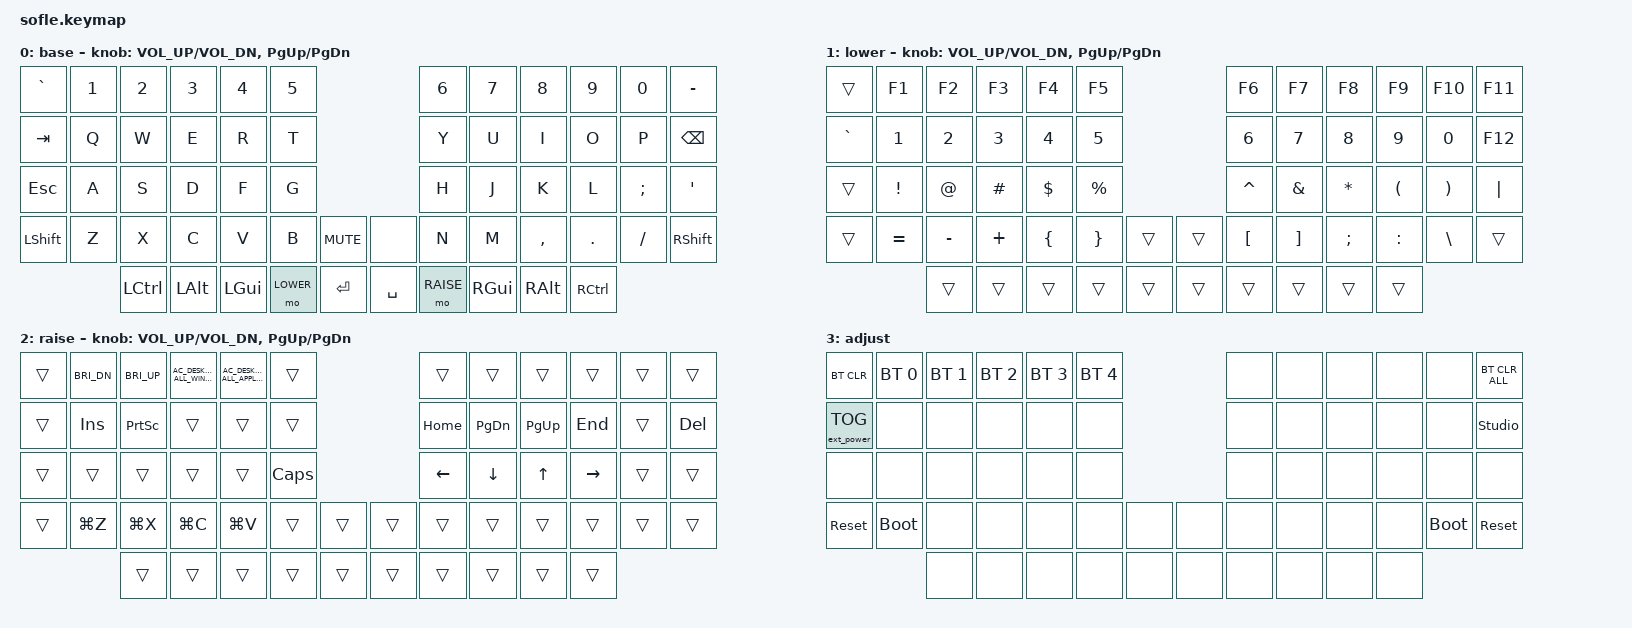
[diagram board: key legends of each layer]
/*
 * Copyright (c) 2020 The ZMK Contributors
 *
 * SPDX-License-Identifier: MIT
 */

#include <behaviors.dtsi>
#include <dt-bindings/zmk/keys.h>
#include <dt-bindings/zmk/bt.h>
#include <dt-bindings/zmk/ext_power.h>

#define BASE 0
#define LOWER 1
#define RAISE 2
#define ADJUST 3

/ {

    // Activate ADJUST layer by pressing raise and lower
    conditional_layers {
        compatible = "zmk,conditional-layers";
        adjust_layer {
            if-layers = <LOWER RAISE>;
            then-layer = <ADJUST>;
        };
    };

    keymap {
        compatible = "zmk,keymap";

        default_layer {
            display-name = "base";
// ------------------------------------------------------------------------------------------------------------
// |   `   |  1  |  2  |  3   |  4   |  5   |                   |  6   |  7    |  8    |  9   |   0   |   -   |
// |  TAB  |  Q  |  W  |  E   |  R   |  T   |                   |  Y   |  U    |  I    |  O   |   P   | BKSPC |
// |  ESC  |  A  |  S  |  D   |  F   |  G   |                   |  H   |  J    |  K    |  L   |   ;   |   '   |
// | SHIFT |  Z  |  X  |  C   |  V   |  B   |  MUTE  |  |       |  N   |  M    |  ,    |  .   |   /   | SHIFT |
//               | CTRL| OPT  | CMD  | LOWER|  ENTER |  | SPACE | RAISE| CMD   | OPT   | CTRL |
            bindings = <
&kp GRAVE &kp N1 &kp N2    &kp N3   &kp N4    &kp N5                           &kp N6    &kp N7   &kp N8    &kp N9   &kp N0   &kp MINUS
&kp TAB   &kp Q  &kp W     &kp E    &kp R     &kp T                            &kp Y     &kp U    &kp I     &kp O    &kp P    &kp BSPC
&kp ESC   &kp A  &kp S     &kp D    &kp F     &kp G                            &kp H     &kp J    &kp K     &kp L    &kp SEMI &kp SQT
&kp LSHFT &kp Z  &kp X     &kp C    &kp V     &kp B      &kp C_MUTE &none      &kp N     &kp M    &kp COMMA &kp DOT  &kp FSLH &kp RSHFT
                 &kp LCTRL &kp LALT &kp LGUI  &mo LOWER  &kp RET    &kp SPACE  &mo RAISE &kp RGUI &kp RALT  &kp RCTRL
            >;

            sensor-bindings = <&inc_dec_kp C_VOL_UP C_VOL_DN &inc_dec_kp PG_UP PG_DN>;
        };

        lower_layer {
            display-name = "lower";
// ------------------------------------------------------------------------------------------------------------
// |       |  F1 |  F2 |  F3  |  F4  |  F5  |                   |  F6  |  F7   |  F8   |  F9  |  F10  |  F11  |
// |   `   |  1  |  2  |  3   |  4   |  5   |                   |  6   |  7    |  8    |  9   |   0   |  F12  |
// |       |  !  |  @  |  #   |  $   |  %   |                   |  ^   |  &    |  *    |  (   |   )   |   |   |
// |       |  =  |  -  |  +   |  {   |  }   |        |  |       |  [   |  ]    |  ;    |  :   |   \   |       |
//               |     |      |      |      |        |  |       |      |       |       |      |
            bindings = <
&trans    &kp F1    &kp F2    &kp F3   &kp F4   &kp F5                     &kp F6    &kp F7   &kp F8    &kp F9    &kp F10  &kp F11
&kp GRAVE &kp N1    &kp N2    &kp N3   &kp N4   &kp N5                     &kp N6    &kp N7   &kp N8    &kp N9    &kp N0   &kp F12
&trans    &kp EXCL  &kp AT    &kp HASH &kp DLLR &kp PRCNT                  &kp CARET &kp AMPS &kp ASTRK &kp LPAR  &kp RPAR &kp PIPE
&trans    &kp EQUAL &kp MINUS &kp PLUS &kp LBRC &kp RBRC   &trans  &trans  &kp LBKT  &kp RBKT &kp SEMI  &kp COLON &kp BSLH &trans
                    &trans    &trans   &trans   &trans      &trans  &trans  &trans    &trans   &trans    &trans
            >;

            sensor-bindings = <&inc_dec_kp C_VOL_UP C_VOL_DN &inc_dec_kp PG_UP PG_DN>;
        };

        raise_layer {
            display-name = "raise";
// ------------------------------------------------------------------------------------------------------------
// |       | BRI-| BRI+|MSCTL |LNCHPD|      |                   |      |      |       |      |       |       |
// |       | INS |PSCRN|      |      |      |                   | HOME | PGDN | PGUP  | END  |       |  DEL  |
// |       |     |     |      |      | CAPS |                   |   ←  |   ↓  |   ↑   |  →   |       |       |
// |       | UNDO| CUT | COPY |PASTE |      |        |  |       |      |      |       |      |       |       |
//               |     |      |      |      |        |  |       |      |      |       |      |
            bindings = <
&trans &kp C_BRI_DN &kp C_BRI_UP &kp C_AC_DESKTOP_SHOW_ALL_WINDOWS &kp C_AC_DESKTOP_SHOW_ALL_APPLICATIONS &trans            &trans   &trans    &trans    &trans    &trans &trans
&trans &kp INS      &kp PSCRN    &trans                            &trans                                 &trans            &kp HOME &kp PG_DN &kp PG_UP &kp END   &trans &kp DEL
&trans &trans       &trans       &trans                            &trans                                 &kp CLCK          &kp LEFT &kp DOWN  &kp UP    &kp RIGHT &trans &trans
&trans &kp LG(Z)    &kp LG(X)   &kp LG(C)                        &kp LG(V)                              &trans &trans &trans &trans &trans    &trans    &trans    &trans &trans
                    &trans       &trans                            &trans                                 &trans &trans &trans &trans &trans    &trans    &trans
            >;

            sensor-bindings = <&inc_dec_kp C_VOL_UP C_VOL_DN &inc_dec_kp PG_UP PG_DN>;
        };

        adjust_layer {
            display-name = "adjust";
// ----------------------------------------------------------------------------------------------------------------------------
// | BTCLR  |  BT1    |  BT2    |   BT3   |   BT4   |   BT5   |                  |      |      |       |      |       |BTCLRALL|
// | EXTPWR |         |         |         |         |         |                  |      |      |       |      |       |STUDIO  |
// |        |         |         |         |         |         |                  |      |      |       |      |       |        |
// | RESET  | BOOTLDR |         |         |         |         |         | |      |      |      |       |      |BOOTLDR| RESET  |
//                    |         |         |         |         |         | |      |      |      |       |      |
            bindings = <
&bt BT_CLR        &bt BT_SEL 0 &bt BT_SEL 1 &bt BT_SEL 2 &bt BT_SEL 3 &bt BT_SEL 4                  &none &none &none &none &none       &bt BT_CLR_ALL
&ext_power EP_TOG &none        &none        &none        &none        &none                           &none &none &none &none &none       &studio_unlock
&none             &none        &none        &none        &none        &none                           &none &none &none &none &none       &none
&sys_reset        &bootloader  &none        &none        &none        &none         &none     &none   &none &none &none &none &bootloader &sys_reset
                               &none        &none        &none        &none         &none     &none   &none &none &none &none
            >;
        };

    };
};

// Mechboards Sofle v2 routes the nice!view CS signal to pin D4
// instead of the default D1. Without this override the display
// shows garbled dots or nothing at all.
&nice_view_spi {
    cs-gpios = <&pro_micro 4 GPIO_ACTIVE_HIGH>;
};
